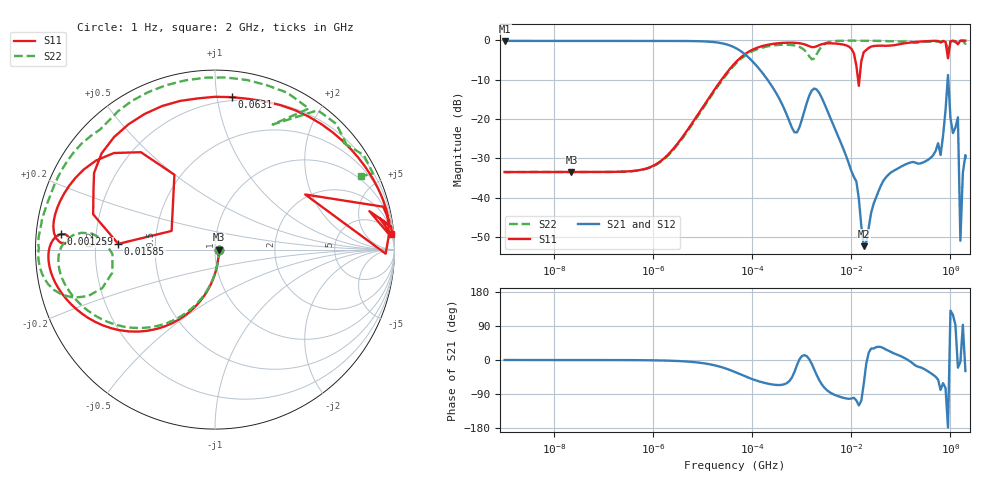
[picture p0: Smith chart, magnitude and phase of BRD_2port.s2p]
! Port1_J42::VDD
! Port2_U1::VDD
!Sigrity Suite Version: 19.0.2.04281.213619  002
!Computer Host Name: rmpodspbol01
!TouchstoneFormatFlag = 1
#	Hz	S	RI	R	0.1
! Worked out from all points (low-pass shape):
!   188 points, 1 Hz to 2 GHz, reference 0.1 ohm
!   highest |S21| = -0.19 dB at 1 Hz (marker M1); lowest = -52.3 dB at 17.78 MHz (marker M2)
!   |S21| within 3 dB of the highest: start of sweep to 64.78 kHz
!   lowest |S11| = -33.5 dB at 22.39 Hz (marker M3), VSWR 1.04, Z = 0.104 - j7.08e-05 ohm
!   |S11| at or under -10 dB: start of sweep to 24.08 kHz; 13.65 MHz to 14.57 MHz (920.3 kHz wide, 6.52 % of centre)
!   |S22| runs from -33.5 to -0.1 dB; largest |S21 - S12| = 3e-15
!   S11 on the Smith chart (normalised r, x): 1 Hz: 1.04, -0.00; 1.259 MHz: 0.07, +0.05; 15.85 MHz: 0.30, +0.03; 63.1 MHz: 0.18, +1.10; 2 GHz: 3, +21
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1  0.0212 -1.53e-05  0.9788 -1.5e-05  0.9788 -1.5e-05  0.0212 -1.46e-05
22.38721  0.0212 -0.000339  0.9788 -0.000334  0.9788 -0.000334  0.0212 -0.000325
39.81072  0.0212 -0.0006  0.9788 -0.00059  0.9788 -0.00059  0.0212 -0.000575
1412.538  0.0205 -0.0207  0.9781 -0.0203  0.9781 -0.0203  0.0205 -0.0198
50118.72  -0.3273 -0.4426  0.6371 -0.4359  0.6371 -0.4359  -0.3137 -0.4237
707945.8  -0.9264 -0.0108  0.0578 -0.0357  0.0578 -0.0357  -0.8567 0.0139
1258925  -0.86 0.0858  0.1582 0.0276  0.1582 0.0276  -0.6862 0.0896
1778279  -0.8148 0.0458  0.2206 -0.1031  0.2206 -0.1031  -0.5723 -0.1288
1.122018e7  -0.4126 0.5426  -0.00309 -0.0181  -0.00309 -0.0181  -0.9824 0.000122
1.412538e7  -0.2417 0.104  -0.00489 -0.00849  -0.00489 -0.00849  -0.9837 0.0213
1.584893e7  -0.5391 0.0319  -0.00131 -0.0042  -0.00131 -0.0042  -0.9842 0.0347
1.778279e7  -0.6788 0.1965  0.00112 -0.00215  0.00112 -0.00215  -0.9838 0.0484
6.309573e7  0.0957 0.8493  0.0196 0.00756  0.0196 0.00756  -0.9324 0.2636
2.511886e8  0.8618 0.4242  0.0257 -0.00917  0.0257 -0.00917  -0.5389 0.7722
6.309573e8  0.9164 0.1761  0.00673 -0.0342  0.00673 -0.0342  0.283 0.9177
7.943282e8  0.951 -0.0229  0.0361 -0.1235  0.0361 -0.1235  0.5232 0.7861
8.912509e8  0.5027 0.3071  -0.3609 -0.0134  -0.3609 -0.0134  0.321 0.6967
1.122018e9  0.9715 0.159  -0.0321 0.0579  -0.0321 0.0579  0.6758 0.7004
1.412538e9  0.8599 0.2145  0.0984 -0.0361  0.0984 -0.0361  0.7034 0.603
1.584893e9  0.9806 0.13  0.00284 -0.000251  0.00284 -0.000251  0.8286 0.5263
1.778279e9  0.9872 0.09  -0.001 0.0207  -0.001 0.0207  0.8803 0.4243
2e9  0.9819 0.0895  0.028 -0.0155  0.028 -0.0155  0.8107 0.4115
